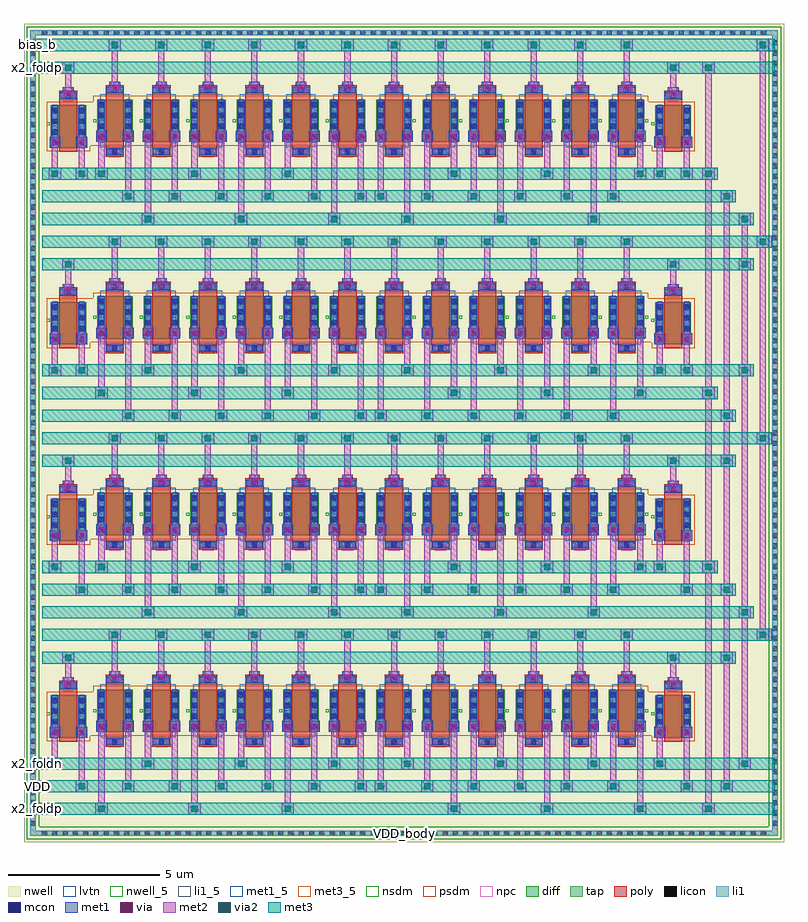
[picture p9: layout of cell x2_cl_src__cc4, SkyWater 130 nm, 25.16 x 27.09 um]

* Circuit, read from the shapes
.subckt x2_cl_src__cc4 VDD VDD_body bias_b x2_foldn x2_foldp
XM1 VDD VDD x2_foldn VDD_body sky130_fd_pr__pfet_01v8 w=1.4 l=0.6 m=2
XM2 VDD VDD x2_foldp VDD_body sky130_fd_pr__pfet_01v8 w=1.4 l=0.6 m=2
XM3 x2_foldn x2_foldn x2_foldn VDD_body sky130_fd_pr__pfet_01v8 w=1.4 l=0.6 m=2
XM4 x2_foldp x2_foldp x2_foldp VDD_body sky130_fd_pr__pfet_01v8 w=1.4 l=0.6 m=2
XM5 VDD bias_b x2_foldp VDD_body sky130_fd_pr__pfet_01v8_lvt w=1.4 l=0.6 m=24
XM6 VDD bias_b x2_foldn VDD_body sky130_fd_pr__pfet_01v8_lvt w=1.4 l=0.6 m=24
.ends

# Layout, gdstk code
from math import pi, radians
import gdstk
lib = gdstk.Library(unit=1e-6, precision=1e-09)
def R(c, l, rs):  # rectangles x0, y0, x1, y1
    for r in rs: c.add(gdstk.rectangle(r[:2], r[2:], *l))
def A(c, l, x, y, w, h, nx, ny, dx, dy):  # array of equal rectangles
    R(c, l, [(x+i*dx, y+j*dy, x+i*dx+w, y+j*dy+h) for i in range(nx) for j in range(ny)])
nwell_5 = (64, 5)
nwell = (64, 20)
diff = (65, 20)
tap = (65, 44)
poly = (66, 20)
licon = (66, 44)
li1_5 = (67, 5)
li1 = (67, 20)
mcon = (67, 44)
met1_5 = (68, 5)
met1 = (68, 20)
via = (68, 44)
met2 = (69, 20)
via2 = (69, 44)
met3_5 = (70, 5)
met3 = (70, 20)
nsdm = (93, 44)
psdm = (94, 20)
npc = (95, 20)
lvtn = (125, 44)

sky130_fd_pr__pfet_01v8_ = lib.new_cell('sky130_fd_pr__pfet_01v8_7A4LUF')
R(sky130_fd_pr__pfet_01v8_, nwell, [(-0.77,-1.19,0.77,1.02)])
R(sky130_fd_pr__pfet_01v8_, diff, [(-0.59,-0.88,0.59,0.52)])
R(sky130_fd_pr__pfet_01v8_, poly, [(-0.3,-1.01,0.3,1.005)])
A(sky130_fd_pr__pfet_01v8_, licon, -0.53, -0.775, 0.17, 0.17, 1, 4, 0, 0.34)
A(sky130_fd_pr__pfet_01v8_, licon, 0.36, -0.775, 0.17, 0.17, 1, 4, 0, 0.34)
R(sky130_fd_pr__pfet_01v8_, licon, [(-0.085,0.755,0.085,0.925)])
R(sky130_fd_pr__pfet_01v8_, li1, [(-0.53,-0.9,-0.36,0.54), (0.36,-0.9,0.53,0.54), (-0.3,0.755,0.3,0.925)])
A(sky130_fd_pr__pfet_01v8_, mcon, -0.53, -0.805, 0.17, 0.17, 1, 4, 0, 0.36)
A(sky130_fd_pr__pfet_01v8_, mcon, 0.36, -0.805, 0.17, 0.17, 1, 4, 0, 0.36)
R(sky130_fd_pr__pfet_01v8_, mcon, [(-0.085,0.755,0.085,0.925)])
R(sky130_fd_pr__pfet_01v8_, met1, [(-0.56,-0.88,-0.33,0.52), (0.33,-0.88,0.56,0.52), (-0.28,0.725,0.28,0.955)])
R(sky130_fd_pr__pfet_01v8_, psdm, [(-0.715,-1.005,0.715,0.645)])
R(sky130_fd_pr__pfet_01v8_, npc, [(-0.185,0.655,0.185,1.025)])
sky130_fd_pr__pfet_01v8_.add(gdstk.Label('D', (-0.445,-0.18), layer=67, texttype=5))
sky130_fd_pr__pfet_01v8_.add(gdstk.Label('S', (0.445,-0.18), layer=67, texttype=5))
sky130_fd_pr__pfet_01v8_.add(gdstk.Label('G', (0,0.84), layer=67, texttype=5))

pfet_01v8_w1p4_l0p6_m2__ = lib.new_cell('pfet_01v8_W1p4_L0p6_m2__nf1_gtop_sdfull_ng')
R(pfet_01v8_w1p4_l0p6_m2__, nwell_5, [(0.05,1.055,0.15,1.155)])
R(pfet_01v8_w1p4_l0p6_m2__, nwell, [(0.05,1.055,0.15,1.155)])
R(pfet_01v8_w1p4_l0p6_m2__, met1_5, [(0.21,1.01,0.44,1.21), (1.1,1.01,1.33,1.21), (0.49,1.915,1.05,2.145)])
R(pfet_01v8_w1p4_l0p6_m2__, met1, [(0.21,1.01,0.44,1.21), (1.1,1.01,1.33,1.21), (0.49,1.915,1.05,2.145)])
pfet_01v8_w1p4_l0p6_m2__.add(gdstk.Reference(sky130_fd_pr__pfet_01v8_, (0.77,1.19)))
pfet_01v8_w1p4_l0p6_m2__.add(gdstk.Label('D', (0.325,1.11), layer=68, texttype=5))
pfet_01v8_w1p4_l0p6_m2__.add(gdstk.Label('S', (1.215,1.11), layer=68, texttype=5))
pfet_01v8_w1p4_l0p6_m2__.add(gdstk.Label('G', (0.77,2.03), layer=68, texttype=5))
pfet_01v8_w1p4_l0p6_m2__.add(gdstk.Label('B', (0.1,1.105), layer=64, texttype=5))

c_sky130_fd_pr__pfet_01v8_ = lib.new_cell('sky130_fd_pr__pfet_01v8_lvt_PJ46JE')
R(c_sky130_fd_pr__pfet_01v8_, nwell, [(-0.77,-1.2,0.77,1.2)])
R(c_sky130_fd_pr__pfet_01v8_, diff, [(-0.59,-0.7,0.59,0.7)])
R(c_sky130_fd_pr__pfet_01v8_, poly, [(-0.3,-1.185,0.3,1.185)])
A(c_sky130_fd_pr__pfet_01v8_, licon, -0.53, -0.595, 0.17, 0.17, 1, 4, 0, 0.34)
A(c_sky130_fd_pr__pfet_01v8_, licon, 0.36, -0.595, 0.17, 0.17, 1, 4, 0, 0.34)
R(c_sky130_fd_pr__pfet_01v8_, licon, [(-0.085,-1.105,0.085,-0.935), (-0.085,0.935,0.085,1.105)])
R(c_sky130_fd_pr__pfet_01v8_, li1, [(-0.3,-1.105,0.3,-0.935), (-0.53,-0.72,-0.36,0.72), (0.36,-0.72,0.53,0.72), (-0.3,0.935,0.3,1.105)])
A(c_sky130_fd_pr__pfet_01v8_, mcon, -0.53, -0.625, 0.17, 0.17, 1, 4, 0, 0.36)
A(c_sky130_fd_pr__pfet_01v8_, mcon, 0.36, -0.625, 0.17, 0.17, 1, 4, 0, 0.36)
R(c_sky130_fd_pr__pfet_01v8_, mcon, [(-0.085,-1.105,0.085,-0.935), (-0.085,0.935,0.085,1.105)])
R(c_sky130_fd_pr__pfet_01v8_, met1, [(-0.28,-1.135,0.28,-0.905), (-0.56,-0.7,-0.33,0.7), (0.33,-0.7,0.56,0.7), (-0.28,0.905,0.28,1.135)])
R(c_sky130_fd_pr__pfet_01v8_, psdm, [(-0.715,-0.825,0.715,0.825)])
R(c_sky130_fd_pr__pfet_01v8_, npc, [(-0.185,-1.205,0.185,-0.835), (-0.185,0.835,0.185,1.205)])
R(c_sky130_fd_pr__pfet_01v8_, lvtn, [(-0.48,-0.88,0.48,0.88)])
c_sky130_fd_pr__pfet_01v8_.add(gdstk.Label('D', (-0.445,0), layer=67, texttype=5))
c_sky130_fd_pr__pfet_01v8_.add(gdstk.Label('S', (0.445,0), layer=67, texttype=5))
c_sky130_fd_pr__pfet_01v8_.add(gdstk.Label('G', (0,1.02), layer=67, texttype=5))

pfet_01v8_lvt_w1p4_l0p6_ = lib.new_cell('pfet_01v8_lvt_W1p4_L0p6_m24__nf1_gboth_sdfull_ng')
R(pfet_01v8_lvt_w1p4_l0p6_, nwell_5, [(0.05,1.15,0.15,1.25)])
R(pfet_01v8_lvt_w1p4_l0p6_, nwell, [(0.05,1.15,0.15,1.25)])
R(pfet_01v8_lvt_w1p4_l0p6_, met1_5, [(0.21,1.2,0.44,1.4), (1.1,1.2,1.33,1.4), (0.49,2.105,1.05,2.335)])
R(pfet_01v8_lvt_w1p4_l0p6_, met1, [(0.21,1.2,0.44,1.4), (1.1,1.2,1.33,1.4), (0.49,2.105,1.05,2.335)])
pfet_01v8_lvt_w1p4_l0p6_.add(gdstk.Reference(c_sky130_fd_pr__pfet_01v8_, (0.77,1.2)))
pfet_01v8_lvt_w1p4_l0p6_.add(gdstk.Label('D', (0.325,1.3), layer=68, texttype=5))
pfet_01v8_lvt_w1p4_l0p6_.add(gdstk.Label('S', (1.215,1.3), layer=68, texttype=5))
pfet_01v8_lvt_w1p4_l0p6_.add(gdstk.Label('G', (0.77,2.22), layer=68, texttype=5))
pfet_01v8_lvt_w1p4_l0p6_.add(gdstk.Label('B', (0.1,1.2), layer=64, texttype=5))

x2_cl_src__cc4 = lib.new_cell('x2_cl_src__cc4')
R(x2_cl_src__cc4, nwell, [(-0.7,-3.15,24.46,23.94)])
R(x2_cl_src__cc4, tap, [(-0.485,-2.935,24.245,-2.765), (-0.485,-2.765,-0.315,23.555), (24.075,-2.765,24.245,23.555), (-0.485,23.555,24.245,23.725)])
A(x2_cl_src__cc4, licon, -0.105, -2.935, 0.17, 0.17, 71, 2, 0.34, 26.49)
A(x2_cl_src__cc4, licon, -0.485, -2.61, 0.17, 0.17, 1, 77, 0, 0.34)
A(x2_cl_src__cc4, licon, 24.075, -2.61, 0.17, 0.17, 1, 77, 0, 0.34)
R(x2_cl_src__cc4, li1_5, [(11.83,-2.9,11.93,-2.8)])
R(x2_cl_src__cc4, li1, [(-0.485,-2.935,24.245,-2.765), (-0.485,-2.765,-0.315,23.555), (24.075,-2.765,24.245,23.555), (-0.485,23.555,24.245,23.725)])
A(x2_cl_src__cc4, met1, 0.145, 0.31, 0.36, 0.36, 1, 4, 0, 6.51)
A(x2_cl_src__cc4, met1, 1.035, 0.31, 0.36, 0.36, 1, 4, 0, 6.51)
A(x2_cl_src__cc4, met1, 20.165, 0.31, 0.36, 0.36, 1, 4, 0, 6.51)
A(x2_cl_src__cc4, met1, 21.055, 0.31, 0.36, 0.36, 1, 4, 0, 6.51)
A(x2_cl_src__cc4, met1, 1.685, 0.505, 0.36, 0.36, 1, 4, 0, 6.51)
A(x2_cl_src__cc4, met1, 2.575, 0.505, 0.36, 0.36, 1, 4, 0, 6.51)
A(x2_cl_src__cc4, met1, 3.225, 0.505, 0.36, 0.36, 1, 4, 0, 6.51)
A(x2_cl_src__cc4, met1, 4.115, 0.505, 0.36, 0.36, 1, 4, 0, 6.51)
A(x2_cl_src__cc4, met1, 4.765, 0.505, 0.36, 0.36, 1, 4, 0, 6.51)
A(x2_cl_src__cc4, met1, 5.655, 0.505, 0.36, 0.36, 1, 4, 0, 6.51)
A(x2_cl_src__cc4, met1, 6.305, 0.505, 0.36, 0.36, 1, 4, 0, 6.51)
A(x2_cl_src__cc4, met1, 7.195, 0.505, 0.36, 0.36, 1, 4, 0, 6.51)
A(x2_cl_src__cc4, met1, 7.845, 0.505, 0.36, 0.36, 1, 4, 0, 6.51)
A(x2_cl_src__cc4, met1, 8.735, 0.505, 0.36, 0.36, 1, 4, 0, 6.51)
A(x2_cl_src__cc4, met1, 9.385, 0.505, 0.36, 0.36, 1, 4, 0, 6.51)
A(x2_cl_src__cc4, met1, 10.275, 0.505, 0.36, 0.36, 1, 4, 0, 6.51)
A(x2_cl_src__cc4, met1, 10.925, 0.505, 0.36, 0.36, 1, 4, 0, 6.51)
A(x2_cl_src__cc4, met1, 11.815, 0.505, 0.36, 0.36, 1, 4, 0, 6.51)
A(x2_cl_src__cc4, met1, 12.465, 0.505, 0.36, 0.36, 1, 4, 0, 6.51)
A(x2_cl_src__cc4, met1, 13.355, 0.505, 0.36, 0.36, 1, 4, 0, 6.51)
A(x2_cl_src__cc4, met1, 14.005, 0.505, 0.36, 0.36, 1, 4, 0, 6.51)
A(x2_cl_src__cc4, met1, 14.895, 0.505, 0.36, 0.36, 1, 4, 0, 6.51)
A(x2_cl_src__cc4, met1, 15.545, 0.505, 0.36, 0.36, 1, 4, 0, 6.51)
A(x2_cl_src__cc4, met1, 16.435, 0.505, 0.36, 0.36, 1, 4, 0, 6.51)
A(x2_cl_src__cc4, met1, 17.085, 0.505, 0.36, 0.36, 1, 4, 0, 6.51)
A(x2_cl_src__cc4, met1, 17.975, 0.505, 0.36, 0.36, 1, 4, 0, 6.51)
A(x2_cl_src__cc4, met1, 18.625, 0.505, 0.36, 0.36, 1, 4, 0, 6.51)
A(x2_cl_src__cc4, met1, 19.515, 0.505, 0.36, 0.36, 1, 4, 0, 6.51)
A(x2_cl_src__cc4, met1, 0.59, 1.945, 0.36, 0.36, 1, 4, 0, 6.51)
A(x2_cl_src__cc4, met1, 20.61, 1.945, 0.36, 0.36, 1, 4, 0, 6.51)
A(x2_cl_src__cc4, met1, 2.13, 2.14, 0.36, 0.36, 12, 4, 1.54, 6.51)
A(x2_cl_src__cc4, via, 0.25, 0.415, 0.15, 0.15, 1, 4, 0, 6.51)
A(x2_cl_src__cc4, via, 1.14, 0.415, 0.15, 0.15, 1, 4, 0, 6.51)
A(x2_cl_src__cc4, via, 20.27, 0.415, 0.15, 0.15, 1, 4, 0, 6.51)
A(x2_cl_src__cc4, via, 21.16, 0.415, 0.15, 0.15, 1, 4, 0, 6.51)
A(x2_cl_src__cc4, via, 1.79, 0.61, 0.15, 0.15, 1, 4, 0, 6.51)
A(x2_cl_src__cc4, via, 2.68, 0.61, 0.15, 0.15, 1, 4, 0, 6.51)
A(x2_cl_src__cc4, via, 3.33, 0.61, 0.15, 0.15, 1, 4, 0, 6.51)
A(x2_cl_src__cc4, via, 4.22, 0.61, 0.15, 0.15, 1, 4, 0, 6.51)
A(x2_cl_src__cc4, via, 4.87, 0.61, 0.15, 0.15, 1, 4, 0, 6.51)
A(x2_cl_src__cc4, via, 5.76, 0.61, 0.15, 0.15, 1, 4, 0, 6.51)
A(x2_cl_src__cc4, via, 6.41, 0.61, 0.15, 0.15, 1, 4, 0, 6.51)
A(x2_cl_src__cc4, via, 7.3, 0.61, 0.15, 0.15, 1, 4, 0, 6.51)
A(x2_cl_src__cc4, via, 7.95, 0.61, 0.15, 0.15, 1, 4, 0, 6.51)
A(x2_cl_src__cc4, via, 8.84, 0.61, 0.15, 0.15, 1, 4, 0, 6.51)
A(x2_cl_src__cc4, via, 9.49, 0.61, 0.15, 0.15, 1, 4, 0, 6.51)
A(x2_cl_src__cc4, via, 10.38, 0.61, 0.15, 0.15, 1, 4, 0, 6.51)
A(x2_cl_src__cc4, via, 11.03, 0.61, 0.15, 0.15, 1, 4, 0, 6.51)
A(x2_cl_src__cc4, via, 11.92, 0.61, 0.15, 0.15, 1, 4, 0, 6.51)
A(x2_cl_src__cc4, via, 12.57, 0.61, 0.15, 0.15, 1, 4, 0, 6.51)
A(x2_cl_src__cc4, via, 13.46, 0.61, 0.15, 0.15, 1, 4, 0, 6.51)
A(x2_cl_src__cc4, via, 14.11, 0.61, 0.15, 0.15, 1, 4, 0, 6.51)
A(x2_cl_src__cc4, via, 15, 0.61, 0.15, 0.15, 1, 4, 0, 6.51)
A(x2_cl_src__cc4, via, 15.65, 0.61, 0.15, 0.15, 1, 4, 0, 6.51)
A(x2_cl_src__cc4, via, 16.54, 0.61, 0.15, 0.15, 1, 4, 0, 6.51)
A(x2_cl_src__cc4, via, 17.19, 0.61, 0.15, 0.15, 1, 4, 0, 6.51)
A(x2_cl_src__cc4, via, 18.08, 0.61, 0.15, 0.15, 1, 4, 0, 6.51)
A(x2_cl_src__cc4, via, 18.73, 0.61, 0.15, 0.15, 1, 4, 0, 6.51)
A(x2_cl_src__cc4, via, 19.62, 0.61, 0.15, 0.15, 1, 4, 0, 6.51)
A(x2_cl_src__cc4, via, 0.695, 2.05, 0.15, 0.15, 1, 4, 0, 6.51)
A(x2_cl_src__cc4, via, 20.715, 2.05, 0.15, 0.15, 1, 4, 0, 6.51)
A(x2_cl_src__cc4, via, 2.235, 2.245, 0.15, 0.15, 12, 4, 1.54, 6.51)
A(x2_cl_src__cc4, met2, 1.665, -2.25, 0.4, 0.4, 3, 2, 3.08, 8.01)
A(x2_cl_src__cc4, met2, 13.335, -2.25, 0.4, 0.4, 3, 2, 3.08, 8.01)
A(x2_cl_src__cc4, met2, 1.765, -1.85, 0.2, 2.375, 3, 1, 3.08, 0)
A(x2_cl_src__cc4, met2, 13.435, -1.85, 0.2, 2.375, 3, 1, 3.08, 0)
A(x2_cl_src__cc4, met2, 1.015, -1.5, 0.4, 0.4, 7, 2, 1.54, 6.51)
A(x2_cl_src__cc4, met2, 10.905, -1.5, 0.4, 0.4, 6, 2, 1.54, 6.51)
A(x2_cl_src__cc4, met2, 2.655, -1.1, 0.2, 1.625, 6, 2, 1.54, 6.51)
A(x2_cl_src__cc4, met2, 11.005, -1.1, 0.2, 1.625, 6, 2, 1.54, 6.51)
A(x2_cl_src__cc4, met2, 0.125, -0.75, 0.4, 0.4, 4, 1, 3.08, 0)
A(x2_cl_src__cc4, met2, 11.795, -0.75, 0.4, 0.4, 3, 2, 3.08, 5.01)
A(x2_cl_src__cc4, met2, 20.145, -0.75, 0.4, 0.4, 1, 4, 0, 6.51)
A(x2_cl_src__cc4, met2, 0.225, -0.35, 0.2, 0.68, 1, 4, 0, 6.51)
A(x2_cl_src__cc4, met2, 3.305, -0.35, 0.2, 0.875, 3, 2, 3.08, 13.02)
A(x2_cl_src__cc4, met2, 11.895, -0.35, 0.2, 0.875, 3, 2, 3.08, 13.02)
A(x2_cl_src__cc4, met2, 20.245, -0.35, 0.2, 0.68, 1, 4, 0, 6.51)
A(x2_cl_src__cc4, met2, 0.195, 0.33, 0.26, 0.32, 1, 4, 0, 6.51)
A(x2_cl_src__cc4, met2, 1.085, 0.33, 0.26, 0.32, 1, 4, 0, 6.51)
A(x2_cl_src__cc4, met2, 20.215, 0.33, 0.26, 0.32, 1, 4, 0, 6.51)
A(x2_cl_src__cc4, met2, 21.105, 0.33, 0.26, 0.32, 1, 4, 0, 6.51)
A(x2_cl_src__cc4, met2, 1.735, 0.525, 0.26, 0.32, 1, 4, 0, 6.51)
A(x2_cl_src__cc4, met2, 2.625, 0.525, 0.26, 0.32, 1, 4, 0, 6.51)
A(x2_cl_src__cc4, met2, 3.275, 0.525, 0.26, 0.32, 1, 4, 0, 6.51)
A(x2_cl_src__cc4, met2, 4.165, 0.525, 0.26, 0.32, 1, 4, 0, 6.51)
A(x2_cl_src__cc4, met2, 4.815, 0.525, 0.26, 0.32, 1, 4, 0, 6.51)
A(x2_cl_src__cc4, met2, 5.705, 0.525, 0.26, 0.32, 1, 4, 0, 6.51)
A(x2_cl_src__cc4, met2, 6.355, 0.525, 0.26, 0.32, 1, 4, 0, 6.51)
A(x2_cl_src__cc4, met2, 7.245, 0.525, 0.26, 0.32, 1, 4, 0, 6.51)
A(x2_cl_src__cc4, met2, 7.895, 0.525, 0.26, 0.32, 1, 4, 0, 6.51)
A(x2_cl_src__cc4, met2, 8.785, 0.525, 0.26, 0.32, 1, 4, 0, 6.51)
A(x2_cl_src__cc4, met2, 9.435, 0.525, 0.26, 0.32, 1, 4, 0, 6.51)
A(x2_cl_src__cc4, met2, 10.325, 0.525, 0.26, 0.32, 1, 4, 0, 6.51)
A(x2_cl_src__cc4, met2, 10.975, 0.525, 0.26, 0.32, 1, 4, 0, 6.51)
A(x2_cl_src__cc4, met2, 11.865, 0.525, 0.26, 0.32, 1, 4, 0, 6.51)
A(x2_cl_src__cc4, met2, 12.515, 0.525, 0.26, 0.32, 1, 4, 0, 6.51)
A(x2_cl_src__cc4, met2, 13.405, 0.525, 0.26, 0.32, 1, 4, 0, 6.51)
A(x2_cl_src__cc4, met2, 14.055, 0.525, 0.26, 0.32, 1, 4, 0, 6.51)
A(x2_cl_src__cc4, met2, 14.945, 0.525, 0.26, 0.32, 1, 4, 0, 6.51)
A(x2_cl_src__cc4, met2, 15.595, 0.525, 0.26, 0.32, 1, 4, 0, 6.51)
A(x2_cl_src__cc4, met2, 16.485, 0.525, 0.26, 0.32, 1, 4, 0, 6.51)
A(x2_cl_src__cc4, met2, 17.135, 0.525, 0.26, 0.32, 1, 4, 0, 6.51)
A(x2_cl_src__cc4, met2, 18.025, 0.525, 0.26, 0.32, 1, 4, 0, 6.51)
A(x2_cl_src__cc4, met2, 18.675, 0.525, 0.26, 0.32, 1, 4, 0, 6.51)
A(x2_cl_src__cc4, met2, 19.565, 0.525, 0.26, 0.32, 1, 4, 0, 6.51)
A(x2_cl_src__cc4, met2, 0.64, 1.965, 0.26, 0.32, 1, 4, 0, 6.51)
A(x2_cl_src__cc4, met2, 20.66, 1.965, 0.26, 0.32, 1, 4, 0, 6.51)
A(x2_cl_src__cc4, met2, 2.18, 2.16, 0.26, 0.32, 12, 4, 1.54, 6.51)
A(x2_cl_src__cc4, met2, 0.67, 2.285, 0.2, 0.475, 1, 4, 0, 6.51)
A(x2_cl_src__cc4, met2, 20.69, 2.285, 0.2, 0.475, 1, 4, 0, 6.51)
A(x2_cl_src__cc4, met2, 2.21, 2.48, 0.2, 1.03, 12, 4, 1.54, 6.51)
A(x2_cl_src__cc4, met2, 0.57, 2.76, 0.4, 0.4, 1, 4, 0, 6.51)
A(x2_cl_src__cc4, met2, 20.59, 2.76, 0.4, 0.4, 1, 4, 0, 6.51)
A(x2_cl_src__cc4, met2, 2.11, 3.51, 0.4, 0.4, 12, 4, 1.54, 6.51)
A(x2_cl_src__cc4, met2, 23.56, 3.51, 0.4, 0.4, 1, 4, 0, 6.51)
A(x2_cl_src__cc4, met2, 23.66, 3.91, 0.2, 6.11, 1, 3, 0, 6.51)
A(x2_cl_src__cc4, met2, 3.205, 4.26, 0.4, 0.4, 3, 2, 3.08, 8.01)
A(x2_cl_src__cc4, met2, 3.305, 4.66, 0.2, 2.375, 3, 2, 3.08, 13.02)
A(x2_cl_src__cc4, met2, 11.895, 4.66, 0.2, 2.375, 3, 2, 3.08, 13.02)
A(x2_cl_src__cc4, met2, 0.125, 5.76, 0.4, 0.4, 1, 3, 0, 6.51)
A(x2_cl_src__cc4, met2, 1.765, 6.16, 0.2, 0.875, 3, 2, 3.08, 13.02)
A(x2_cl_src__cc4, met2, 13.435, 6.16, 0.2, 0.875, 3, 2, 3.08, 13.02)
A(x2_cl_src__cc4, met2, 2.555, 10.77, 0.4, 0.4, 6, 2, 1.54, 7.26)
A(x2_cl_src__cc4, met2, 10.905, 10.77, 0.4, 0.4, 6, 2, 1.54, 7.26)
A(x2_cl_src__cc4, met2, 2.655, 11.17, 0.2, 2.375, 6, 1, 1.54, 0)
A(x2_cl_src__cc4, met2, 11.005, 11.17, 0.2, 2.375, 6, 1, 1.54, 0)
A(x2_cl_src__cc4, met2, 1.665, 11.52, 0.4, 0.4, 3, 2, 3.08, 7.26)
A(x2_cl_src__cc4, met2, 13.335, 11.52, 0.4, 0.4, 3, 2, 3.08, 7.26)
A(x2_cl_src__cc4, met2, 1.765, 11.92, 0.2, 1.625, 3, 1, 3.08, 0)
A(x2_cl_src__cc4, met2, 13.435, 11.92, 0.2, 1.625, 3, 1, 3.08, 0)
A(x2_cl_src__cc4, met2, 11.795, 12.27, 0.4, 0.4, 3, 2, 3.08, 5.01)
A(x2_cl_src__cc4, met2, 3.205, 17.28, 0.4, 0.4, 3, 1, 3.08, 0)
A(x2_cl_src__cc4, met2, 2.655, 18.43, 0.2, 1.625, 6, 1, 1.54, 0)
A(x2_cl_src__cc4, met2, 11.005, 18.43, 0.2, 1.625, 6, 1, 1.54, 0)
R(x2_cl_src__cc4, met2, [(21.76,-2.25,22.16,-1.85), (21.86,-1.85,22.06,5.76), (21.035,-1.5,21.435,-1.1), (22.36,-1.5,22.76,-1.1), (1.115,-1.1,1.315,0.33), (21.135,-1.1,21.335,0.33), (22.46,-1.1,22.66,2.76), (22.96,-0.75,23.36,-0.35), (23.06,-0.35,23.26,4.26), (22.36,2.76,22.76,3.16), (22.46,3.16,22.66,5.01), (22.96,4.26,23.36,4.66), (23.06,4.66,23.26,12.27), (21.035,5.01,21.435,5.41), (22.36,5.01,22.76,5.41), (1.115,5.41,1.315,6.84), (21.135,5.41,21.335,6.84), (22.46,5.41,22.66,9.27), (21.76,5.76,22.16,6.16), (21.86,6.16,22.06,11.52), (22.36,9.27,22.76,9.67), (22.46,9.67,22.66,10.77), (22.36,10.77,22.76,11.17), (22.46,11.17,22.66,18.03), (21.76,11.52,22.16,11.92), (21.86,11.92,22.06,18.78), (1.015,12.27,1.415,12.67), (21.035,12.27,21.435,12.67), (22.96,12.27,23.36,12.67), (1.115,12.67,1.315,13.35), (21.135,12.67,21.335,13.35), (23.06,12.67,23.26,15.78), (22.96,15.78,23.36,16.18), (23.06,16.18,23.26,17.28), (22.96,17.28,23.36,17.68), (22.36,18.03,22.76,18.43), (1.015,18.78,1.415,19.18), (21.035,18.78,21.435,19.18), (21.76,18.78,22.16,19.18), (1.115,19.18,1.315,19.86), (21.135,19.18,21.335,19.86), (21.86,19.18,22.06,22.29), (21.76,22.29,22.16,22.69)])
A(x2_cl_src__cc4, via2, 1.765, -2.15, 0.2, 0.2, 3, 2, 3.08, 8.01)
A(x2_cl_src__cc4, via2, 13.435, -2.15, 0.2, 0.2, 3, 2, 3.08, 8.01)
A(x2_cl_src__cc4, via2, 1.115, -1.4, 0.2, 0.2, 7, 2, 1.54, 6.51)
A(x2_cl_src__cc4, via2, 11.005, -1.4, 0.2, 0.2, 6, 2, 1.54, 6.51)
A(x2_cl_src__cc4, via2, 0.225, -0.65, 0.2, 0.2, 4, 1, 3.08, 0)
A(x2_cl_src__cc4, via2, 11.895, -0.65, 0.2, 0.2, 3, 2, 3.08, 5.01)
A(x2_cl_src__cc4, via2, 20.245, -0.65, 0.2, 0.2, 1, 4, 0, 6.51)
A(x2_cl_src__cc4, via2, 0.67, 2.86, 0.2, 0.2, 1, 4, 0, 6.51)
A(x2_cl_src__cc4, via2, 20.69, 2.86, 0.2, 0.2, 1, 4, 0, 6.51)
A(x2_cl_src__cc4, via2, 2.21, 3.61, 0.2, 0.2, 12, 4, 1.54, 6.51)
A(x2_cl_src__cc4, via2, 23.66, 3.61, 0.2, 0.2, 1, 4, 0, 6.51)
A(x2_cl_src__cc4, via2, 3.305, 4.36, 0.2, 0.2, 3, 2, 3.08, 8.01)
A(x2_cl_src__cc4, via2, 0.225, 5.86, 0.2, 0.2, 1, 3, 0, 6.51)
A(x2_cl_src__cc4, via2, 2.655, 10.87, 0.2, 0.2, 6, 2, 1.54, 7.26)
A(x2_cl_src__cc4, via2, 11.005, 10.87, 0.2, 0.2, 6, 2, 1.54, 7.26)
A(x2_cl_src__cc4, via2, 1.765, 11.62, 0.2, 0.2, 3, 2, 3.08, 7.26)
A(x2_cl_src__cc4, via2, 13.435, 11.62, 0.2, 0.2, 3, 2, 3.08, 7.26)
A(x2_cl_src__cc4, via2, 11.895, 12.37, 0.2, 0.2, 3, 2, 3.08, 5.01)
A(x2_cl_src__cc4, via2, 3.305, 17.38, 0.2, 0.2, 3, 1, 3.08, 0)
R(x2_cl_src__cc4, via2, [(21.86,-2.15,22.06,-1.95), (21.135,-1.4,21.335,-1.2), (22.46,-1.4,22.66,-1.2), (23.06,-0.65,23.26,-0.45), (22.46,2.86,22.66,3.06), (23.06,4.36,23.26,4.56), (21.135,5.11,21.335,5.31), (22.46,5.11,22.66,5.31), (21.86,5.86,22.06,6.06), (22.46,9.37,22.66,9.57), (22.46,10.87,22.66,11.07), (21.86,11.62,22.06,11.82), (1.115,12.37,1.315,12.57), (21.135,12.37,21.335,12.57), (23.06,12.37,23.26,12.57), (23.06,15.88,23.26,16.08), (23.06,17.38,23.26,17.58), (22.46,18.13,22.66,18.33), (1.115,18.88,1.315,19.08), (21.135,18.88,21.335,19.08), (21.86,18.88,22.06,19.08), (21.86,22.39,22.06,22.59)])
A(x2_cl_src__cc4, met3_5, -0.3, -2.1, 0.1, 0.1, 1, 3, 0, 0.75)
R(x2_cl_src__cc4, met3_5, [(-0.3,22.44,-0.2,22.54), (-0.3,23.19,-0.2,23.29)])
A(x2_cl_src__cc4, met3, -0.4, -2.25, 24.56, 0.4, 1, 3, 0, 0.75)
A(x2_cl_src__cc4, met3, -0.1, 3.51, 24.16, 0.4, 1, 3, 0, 6.51)
R(x2_cl_src__cc4, met3, [(-0.1,2.76,22.86,3.16), (-0.1,4.26,23.46,4.66), (-0.1,5.01,22.86,5.41), (-0.1,5.76,22.26,6.16), (-0.1,9.27,22.86,9.67), (-0.1,10.77,22.86,11.17), (-0.1,11.52,22.26,11.92), (-0.1,12.27,23.46,12.67), (-0.1,15.78,23.46,16.18), (-0.1,17.28,23.46,17.68), (-0.1,18.03,22.86,18.43), (-0.1,18.78,22.26,19.18), (-0.4,22.29,24.16,22.69), (-0.4,23.04,24.16,23.44)])
R(x2_cl_src__cc4, nsdm, [(-0.61,-3.06,24.37,-2.64), (-0.61,-2.64,-0.19,23.43), (23.95,-2.64,24.37,23.43), (-0.61,23.43,24.37,23.85)])
A(x2_cl_src__cc4, psdm, 1.485, 0.375, 0.11, 1.46, 1, 4, 0, 6.51)
A(x2_cl_src__cc4, psdm, 3.025, 0.375, 0.11, 1.65, 11, 4, 1.54, 6.51)
A(x2_cl_src__cc4, psdm, 19.965, 0.375, 0.11, 1.46, 1, 4, 0, 6.51)
x2_cl_src__cc4.add(gdstk.Reference(pfet_01v8_w1p4_l0p6_m2__, (0,0)))
x2_cl_src__cc4.add(gdstk.Reference(pfet_01v8_lvt_w1p4_l0p6_, (1.54,0)))
x2_cl_src__cc4.add(gdstk.Reference(pfet_01v8_lvt_w1p4_l0p6_, (3.08,0)))
x2_cl_src__cc4.add(gdstk.Reference(pfet_01v8_lvt_w1p4_l0p6_, (4.62,0)))
x2_cl_src__cc4.add(gdstk.Reference(pfet_01v8_lvt_w1p4_l0p6_, (6.16,0)))
x2_cl_src__cc4.add(gdstk.Reference(pfet_01v8_lvt_w1p4_l0p6_, (7.7,0)))
x2_cl_src__cc4.add(gdstk.Reference(pfet_01v8_lvt_w1p4_l0p6_, (9.24,0)))
x2_cl_src__cc4.add(gdstk.Reference(pfet_01v8_lvt_w1p4_l0p6_, (12.32,0), rotation=pi, x_reflection=True))
x2_cl_src__cc4.add(gdstk.Reference(pfet_01v8_lvt_w1p4_l0p6_, (13.86,0), rotation=pi, x_reflection=True))
x2_cl_src__cc4.add(gdstk.Reference(pfet_01v8_lvt_w1p4_l0p6_, (15.4,0), rotation=pi, x_reflection=True))
x2_cl_src__cc4.add(gdstk.Reference(pfet_01v8_lvt_w1p4_l0p6_, (16.94,0), rotation=pi, x_reflection=True))
x2_cl_src__cc4.add(gdstk.Reference(pfet_01v8_lvt_w1p4_l0p6_, (18.48,0), rotation=pi, x_reflection=True))
x2_cl_src__cc4.add(gdstk.Reference(pfet_01v8_lvt_w1p4_l0p6_, (20.02,0), rotation=pi, x_reflection=True))
x2_cl_src__cc4.add(gdstk.Reference(pfet_01v8_w1p4_l0p6_m2__, (20.02,0)))
x2_cl_src__cc4.add(gdstk.Reference(pfet_01v8_w1p4_l0p6_m2__, (0,6.51)))
x2_cl_src__cc4.add(gdstk.Reference(pfet_01v8_lvt_w1p4_l0p6_, (1.54,6.51)))
x2_cl_src__cc4.add(gdstk.Reference(pfet_01v8_lvt_w1p4_l0p6_, (3.08,6.51)))
x2_cl_src__cc4.add(gdstk.Reference(pfet_01v8_lvt_w1p4_l0p6_, (4.62,6.51)))
x2_cl_src__cc4.add(gdstk.Reference(pfet_01v8_lvt_w1p4_l0p6_, (6.16,6.51)))
x2_cl_src__cc4.add(gdstk.Reference(pfet_01v8_lvt_w1p4_l0p6_, (7.7,6.51)))
x2_cl_src__cc4.add(gdstk.Reference(pfet_01v8_lvt_w1p4_l0p6_, (9.24,6.51)))
x2_cl_src__cc4.add(gdstk.Reference(pfet_01v8_lvt_w1p4_l0p6_, (12.32,6.51), rotation=pi, x_reflection=True))
x2_cl_src__cc4.add(gdstk.Reference(pfet_01v8_lvt_w1p4_l0p6_, (13.86,6.51), rotation=pi, x_reflection=True))
x2_cl_src__cc4.add(gdstk.Reference(pfet_01v8_lvt_w1p4_l0p6_, (15.4,6.51), rotation=pi, x_reflection=True))
x2_cl_src__cc4.add(gdstk.Reference(pfet_01v8_lvt_w1p4_l0p6_, (16.94,6.51), rotation=pi, x_reflection=True))
x2_cl_src__cc4.add(gdstk.Reference(pfet_01v8_lvt_w1p4_l0p6_, (18.48,6.51), rotation=pi, x_reflection=True))
x2_cl_src__cc4.add(gdstk.Reference(pfet_01v8_lvt_w1p4_l0p6_, (20.02,6.51), rotation=pi, x_reflection=True))
x2_cl_src__cc4.add(gdstk.Reference(pfet_01v8_w1p4_l0p6_m2__, (20.02,6.51)))
x2_cl_src__cc4.add(gdstk.Reference(pfet_01v8_w1p4_l0p6_m2__, (0,13.02)))
x2_cl_src__cc4.add(gdstk.Reference(pfet_01v8_lvt_w1p4_l0p6_, (1.54,13.02)))
x2_cl_src__cc4.add(gdstk.Reference(pfet_01v8_lvt_w1p4_l0p6_, (3.08,13.02)))
x2_cl_src__cc4.add(gdstk.Reference(pfet_01v8_lvt_w1p4_l0p6_, (4.62,13.02)))
x2_cl_src__cc4.add(gdstk.Reference(pfet_01v8_lvt_w1p4_l0p6_, (6.16,13.02)))
x2_cl_src__cc4.add(gdstk.Reference(pfet_01v8_lvt_w1p4_l0p6_, (7.7,13.02)))
x2_cl_src__cc4.add(gdstk.Reference(pfet_01v8_lvt_w1p4_l0p6_, (9.24,13.02)))
x2_cl_src__cc4.add(gdstk.Reference(pfet_01v8_lvt_w1p4_l0p6_, (12.32,13.02), rotation=pi, x_reflection=True))
x2_cl_src__cc4.add(gdstk.Reference(pfet_01v8_lvt_w1p4_l0p6_, (13.86,13.02), rotation=pi, x_reflection=True))
x2_cl_src__cc4.add(gdstk.Reference(pfet_01v8_lvt_w1p4_l0p6_, (15.4,13.02), rotation=pi, x_reflection=True))
x2_cl_src__cc4.add(gdstk.Reference(pfet_01v8_lvt_w1p4_l0p6_, (16.94,13.02), rotation=pi, x_reflection=True))
x2_cl_src__cc4.add(gdstk.Reference(pfet_01v8_lvt_w1p4_l0p6_, (18.48,13.02), rotation=pi, x_reflection=True))
x2_cl_src__cc4.add(gdstk.Reference(pfet_01v8_lvt_w1p4_l0p6_, (20.02,13.02), rotation=pi, x_reflection=True))
x2_cl_src__cc4.add(gdstk.Reference(pfet_01v8_w1p4_l0p6_m2__, (20.02,13.02)))
x2_cl_src__cc4.add(gdstk.Reference(pfet_01v8_w1p4_l0p6_m2__, (0,19.53)))
x2_cl_src__cc4.add(gdstk.Reference(pfet_01v8_lvt_w1p4_l0p6_, (1.54,19.53)))
x2_cl_src__cc4.add(gdstk.Reference(pfet_01v8_lvt_w1p4_l0p6_, (3.08,19.53)))
x2_cl_src__cc4.add(gdstk.Reference(pfet_01v8_lvt_w1p4_l0p6_, (4.62,19.53)))
x2_cl_src__cc4.add(gdstk.Reference(pfet_01v8_lvt_w1p4_l0p6_, (6.16,19.53)))
x2_cl_src__cc4.add(gdstk.Reference(pfet_01v8_lvt_w1p4_l0p6_, (7.7,19.53)))
x2_cl_src__cc4.add(gdstk.Reference(pfet_01v8_lvt_w1p4_l0p6_, (9.24,19.53)))
x2_cl_src__cc4.add(gdstk.Reference(pfet_01v8_lvt_w1p4_l0p6_, (12.32,19.53), rotation=pi, x_reflection=True))
x2_cl_src__cc4.add(gdstk.Reference(pfet_01v8_lvt_w1p4_l0p6_, (13.86,19.53), rotation=pi, x_reflection=True))
x2_cl_src__cc4.add(gdstk.Reference(pfet_01v8_lvt_w1p4_l0p6_, (15.4,19.53), rotation=pi, x_reflection=True))
x2_cl_src__cc4.add(gdstk.Reference(pfet_01v8_lvt_w1p4_l0p6_, (16.94,19.53), rotation=pi, x_reflection=True))
x2_cl_src__cc4.add(gdstk.Reference(pfet_01v8_lvt_w1p4_l0p6_, (18.48,19.53), rotation=pi, x_reflection=True))
x2_cl_src__cc4.add(gdstk.Reference(pfet_01v8_lvt_w1p4_l0p6_, (20.02,19.53), rotation=pi, x_reflection=True))
x2_cl_src__cc4.add(gdstk.Reference(pfet_01v8_w1p4_l0p6_m2__, (20.02,19.53)))
x2_cl_src__cc4.add(gdstk.Label('x2_foldp', (-0.25,22.49), layer=70, texttype=5))
x2_cl_src__cc4.add(gdstk.Label('bias_b', (-0.25,23.24), layer=70, texttype=5))
x2_cl_src__cc4.add(gdstk.Label('x2_foldn', (-0.25,-0.55), layer=70, texttype=5))
x2_cl_src__cc4.add(gdstk.Label('VDD', (-0.25,-1.3), layer=70, texttype=5))
x2_cl_src__cc4.add(gdstk.Label('x2_foldp', (-0.25,-2.05), layer=70, texttype=5))
x2_cl_src__cc4.add(gdstk.Label('VDD_body', (11.88,-2.85), layer=67, texttype=5))

lib.write_gds('x2_cl_src__cc4.gds')
